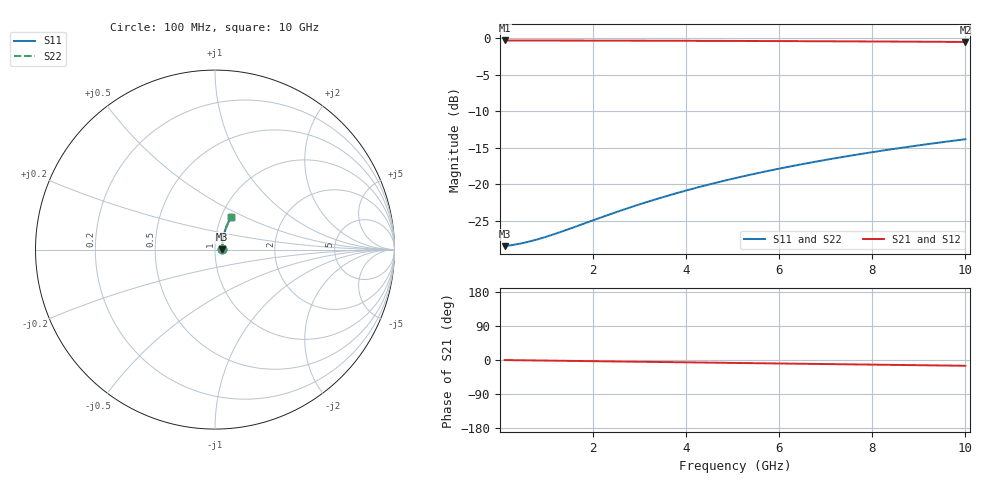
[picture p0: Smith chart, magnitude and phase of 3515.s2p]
# Hz S RI R 50.00
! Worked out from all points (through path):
!   100 points, 100 MHz to 10 GHz, reference 50 ohm
!   highest |S21| = -0.33 dB at 100 MHz (marker M1); lowest = -0.5 dB at 10 GHz (marker M2)
!   group delay of S21, straight-line fit = 4.23 ps
!   lowest |S11| = -28.5 dB at 100 MHz (marker M3), VSWR 1.08, Z = 53.9 + j0.21 ohm
!   |S11| at or under -10 dB: start of sweep to end of sweep
!   |S22| runs from -28.5 to -13.9 dB; largest |S21 - S12| = 0
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1e8  0.0376 0.00194  0.9624 -0.00259  0.9624 -0.00259  0.0376 0.00194
3e8  0.038 0.00583  0.962 -0.00776  0.962 -0.00776  0.038 0.00583
5e8  0.0384 0.0097  0.9616 -0.0129  0.9616 -0.0129  0.0384 0.0097
8e8  0.0389 0.0155  0.9611 -0.0207  0.9611 -0.0207  0.0389 0.0155
1e9  0.0392 0.0194  0.9608 -0.0258  0.9608 -0.0258  0.0392 0.0194
1.2e9  0.0396 0.0232  0.9604 -0.031  0.9604 -0.031  0.0396 0.0232
1.8e9  0.0408 0.0348  0.9591 -0.0464  0.9591 -0.0464  0.0408 0.0348
2.3e9  0.0421 0.0444  0.9578 -0.0592  0.9578 -0.0592  0.0421 0.0444
2.7e9  0.0432 0.052  0.9566 -0.0695  0.9566 -0.0695  0.0432 0.052
3.1e9  0.0446 0.0596  0.9552 -0.0797  0.9552 -0.0797  0.0446 0.0596
3.4e9  0.0456 0.0653  0.9541 -0.0873  0.9541 -0.0873  0.0456 0.0653
3.8e9  0.0472 0.0729  0.9524 -0.0974  0.9524 -0.0974  0.0472 0.0729
4.2e9  0.049 0.0804  0.9506 -0.1075  0.9506 -0.1075  0.049 0.0804
4.6e9  0.0509 0.0878  0.9487 -0.1175  0.9487 -0.1175  0.0509 0.0878
5.1e9  0.0534 0.097  0.946 -0.13  0.946 -0.13  0.0534 0.097
5.5e9  0.0557 0.1044  0.9437 -0.1399  0.9437 -0.1399  0.0557 0.1044
5.9e9  0.058 0.1116  0.9412 -0.1498  0.9412 -0.1498  0.058 0.1116
6.7e9  0.0632 0.1259  0.9358 -0.1693  0.9358 -0.1693  0.0632 0.1259
7.5e9  0.069 0.14  0.9298 -0.1885  0.9298 -0.1885  0.069 0.14
8.4e9  0.0761 0.1554  0.9223 -0.2098  0.9223 -0.2098  0.0761 0.1554
9.2e9  0.0831 0.1687  0.9151 -0.2283  0.9151 -0.2283  0.0831 0.1687
1e10  0.0905 0.1817  0.9073 -0.2465  0.9073 -0.2465  0.0905 0.1817
